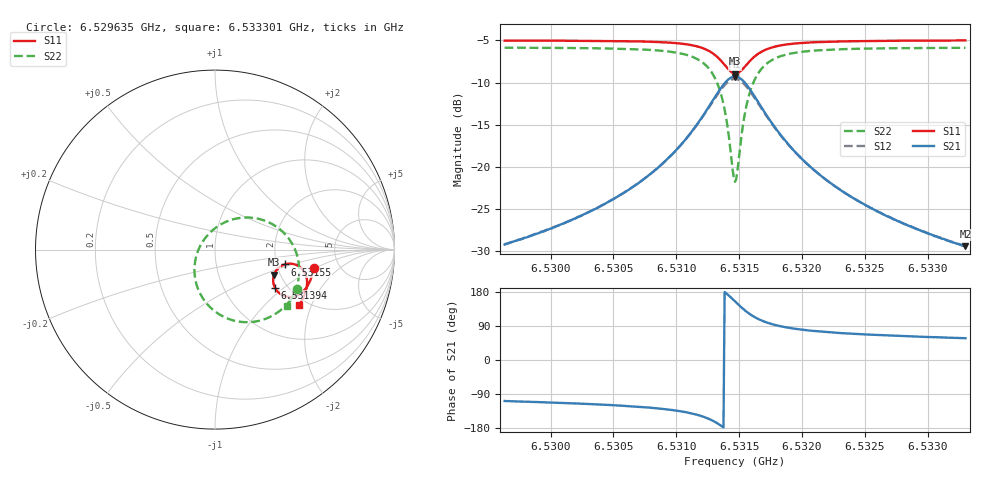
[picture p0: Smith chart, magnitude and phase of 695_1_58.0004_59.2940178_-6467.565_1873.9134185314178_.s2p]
#  HZ  S  RI  R  50.00
! Rohde & Schwarz Vector Network Analyzer
! Rohde-Schwarz,ZNB20-2Port,1311601062101988,3.16
! Created: UTC 3/21/2024, 1:21:25 AM
! freq[Hz]  re:S11  im:S11  re:S21  im:S21  re:S12  im:S12  re:S22  im:S22
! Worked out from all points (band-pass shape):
!   401 points, 6.529635 GHz to 6.533301 GHz, reference 50 ohm
!   highest |S21| = -9.28 dB at 6.531468 GHz (marker M1); lowest = -29.4 dB at 6.533301 GHz (marker M2)
!   |S21| within 3 dB of the highest: 6.531284 GHz to 6.531651 GHz (366.6 kHz wide, 0.00561 % of centre)
!   lowest |S11| = -8.9 dB at 6.531468 GHz (marker M3), VSWR 2.11, Z = 93 - j29.6 ohm
!   |S11| at or under -10 dB: nowhere
!   |S22| runs from -21.7 to -5.9 dB; largest |S21 - S12| = 0.015
!   S11 on the Smith chart (normalised r, x): 6.529635 GHz: 3.23, -0.97; 6.531394 GHz: 1.73, -0.87; 6.53155 GHz: 2.21, -0.43; 6.533301 GHz: 1.82, -1.64
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6.5296345e9  0.5508 -0.1027  -0.0108 -0.033  -0.0115 -0.0327  0.4578 -0.2222
6.5302486e9  0.5372 -0.1548  -0.0222 -0.0466  -0.0233 -0.0462  0.4212 -0.2806
6.5305786e9  0.5241 -0.1866  -0.0359 -0.0601  -0.0374 -0.0592  0.3852 -0.3205
6.5308627e9  0.5042 -0.2189  -0.0617 -0.0789  -0.0641 -0.0772  0.3271 -0.3642
6.5310826e9  0.4714 -0.2484  -0.1104 -0.0989  -0.1136 -0.0947  0.2297 -0.3999
6.5312385e9  0.42 -0.2636  -0.1908 -0.0995  -0.1925 -0.0909  0.0848 -0.3895
6.5313301e9  0.3693 -0.2502  -0.2688 -0.0594  -0.2657 -0.0476  -0.0414 -0.3059
6.5313668e9  0.3474 -0.232  -0.3004 -0.0218  -0.2939 -0.0101  -0.0869 -0.2365
6.5313943e9  0.3338 -0.2118  -0.3185 0.0168  -0.3093 0.0276  -0.1091 -0.1687
6.5314493e9  0.3248 -0.1578  -0.3222 0.1137  -0.3086 0.119  -0.0955 -0.00915
6.5314676e9  0.3296 -0.1388  -0.3106 0.1466  -0.2969 0.1494  -0.0703 0.0418
6.5314859e9  0.3381 -0.1213  -0.2926 0.1765  -0.2793 0.1769  -0.0354 0.0869
6.5315226e9  0.3642 -0.0943  -0.2433 0.2214  -0.2325 0.2183  0.0531 0.1514
6.5315501e9  0.3874 -0.0828  -0.2012 0.2401  -0.1928 0.2354  0.1254 0.1743
6.5315776e9  0.4106 -0.0783  -0.1607 0.2468  -0.1544 0.2421  0.1937 0.1785
6.5316142e9  0.4376 -0.0805  -0.1136 0.2431  -0.1098 0.2386  0.2714 0.1634
6.5317059e9  0.4818 -0.1048  -0.0388 0.2058  -0.037 0.2034  0.392 0.0845
6.5318434e9  0.5069 -0.1444  0.0049 0.1505  0.00613 0.1495  0.4556 -0.0255
6.5320817e9  0.5127 -0.1917  0.022 0.0955  0.0232 0.0952  0.4685 -0.1371
6.5323658e9  0.5061 -0.2285  0.0235 0.0643  0.0244 0.064  0.455 -0.207
6.5326958e9  0.4947 -0.2604  0.0216 0.0455  0.0225 0.0453  0.4354 -0.2561
6.5333007e9  0.4701 -0.3074  0.0182 0.0287  0.0188 0.0284  0.3999 -0.3136
